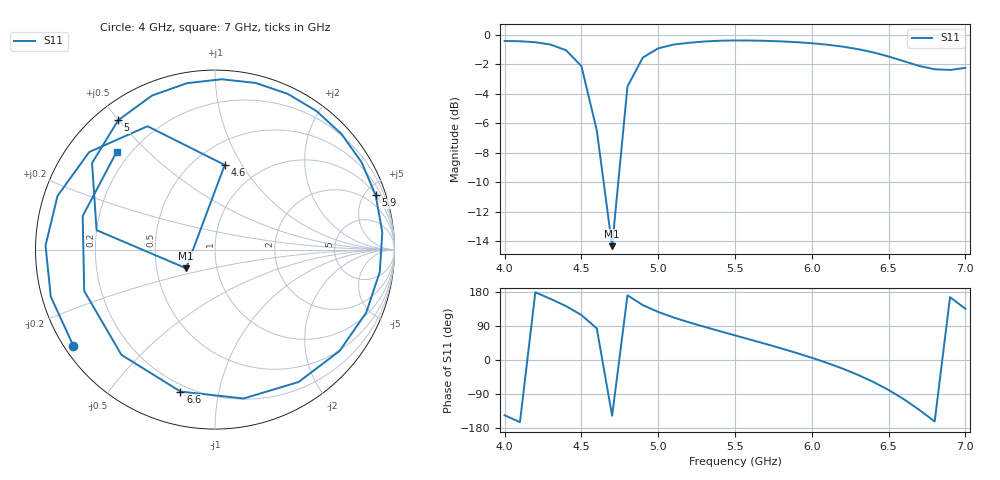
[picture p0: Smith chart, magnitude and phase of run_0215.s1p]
! Touchstone file exported from HFSS 2024.2.0
!  File:  C:/Users/wsak9/Desktop/Sim Fast/Widenad Patch/WP_AI_V1_sweep.aedt
!  Generated:  11:56:46 PM Oct 13, 2026
!  Design:  A1_model
!  Project:  WP_AI_V1_sweep
!  Setup:  Setup1
!  Solution:  Sweep
! Variables:
!  Air_gap = 1.85mm
!  Curve_Amp1 = 1.75
!  Curve_len1 = 1
!  Curve_pos = 12.24mm
!  Extra = 0.54mm
!  H_sub = 0.79mm
!  L_Patch = 20.48mm
!  L_Patch1 = 12.46mm
!  Sx = 3.51mm
!  Sy = 1.84mm
!  WS = 0.49mm
!  W_Patch = 17.03mm
!  W_Patch1 = 11.92mm
!Data is not renormalized
# GHz S MA
! Terminal data exported
! Port[1] = 1
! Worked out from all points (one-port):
!   31 points, 4 GHz to 7 GHz, reference per port
!   lowest |S11| = -14.3 dB at 4.7 GHz (marker M1), VSWR 1.47
!   |S11| at or under -10 dB: 4.645 GHz to 4.74 GHz (95.24 MHz wide, 2.03 % of centre)
!   S11 on the Smith chart (normalised r, x): 4 GHz: 0.03, -0.31; 4.6 GHz: 0.69, +0.84; 5 GHz: 0.07, +0.50; 5.9 GHz: 1.04, +5.90; 6.6 GHz: 0.16, -0.77; 7 GHz: 0.15, +0.41
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4  0.9538 -145.9
4.1  0.9518 -164.0
4.2  0.9444 178.6
4.3  0.927 161.2
4.4  0.887 142.2
4.5  0.7835 118.7
4.6  0.4747 83.4
4.7  0.1917 -147.2
4.8  0.6686 170.7
4.9  0.8378 144.9
5  0.9004 126.8
5.1  0.9273 112.2
5.2  0.9404 99.5
5.3  0.9498 87.7
5.5  0.9576 65.0
5.7  0.9547 42.4
5.9  0.9449 18.7
6  0.9371 5.9
6.1  0.9266 -7.7
6.2  0.9128 -22.6
6.3  0.8949 -39.1
6.4  0.8723 -57.7
6.5  0.8448 -79.1
6.6  0.814 -103.7
6.7  0.7845 -131.7
6.8  0.7643 -162.4
6.9  0.7605 165.8
7  0.7728 135.1
